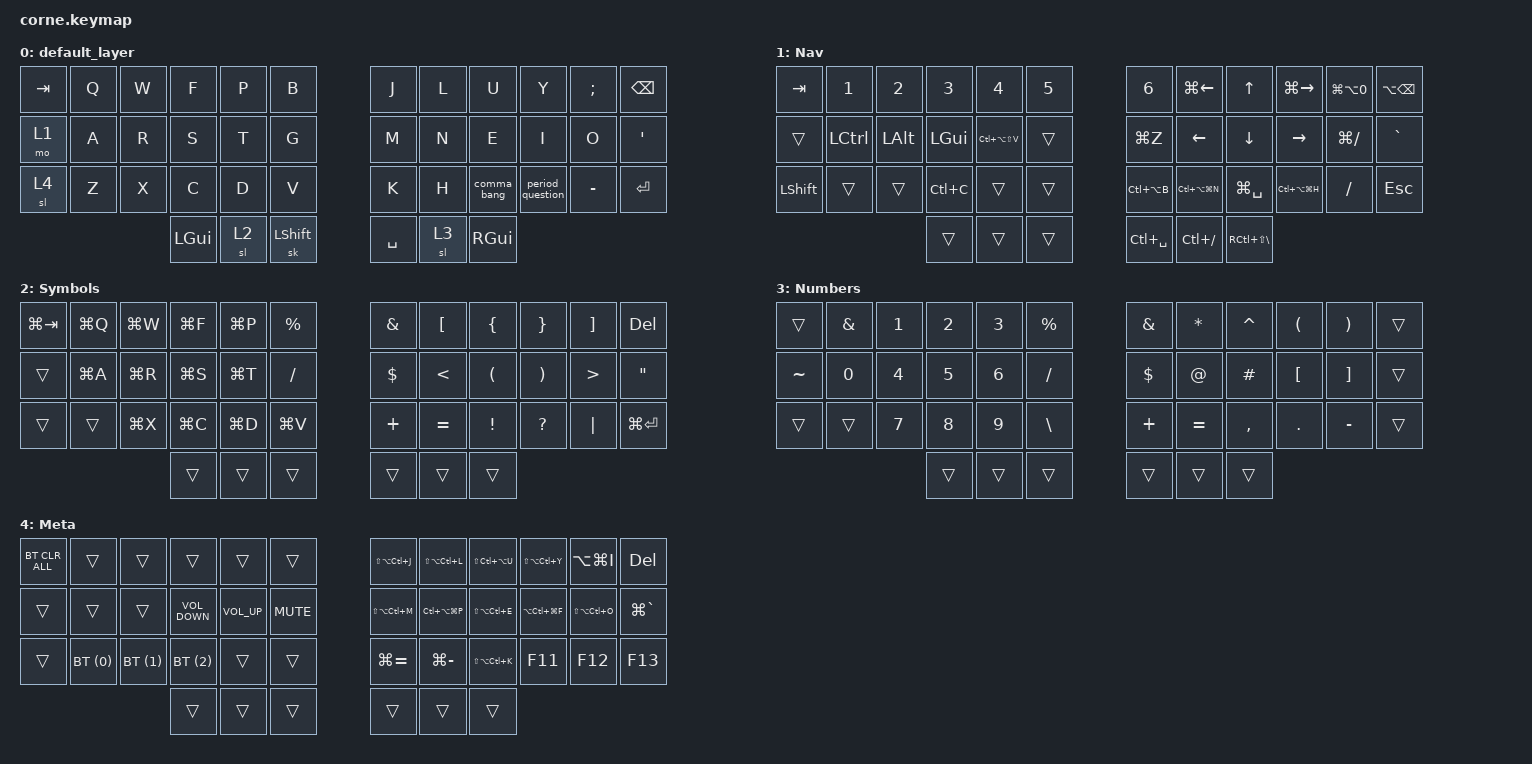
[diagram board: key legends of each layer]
/*
 * Copyright (c) 2020 The ZMK Contributors
 *
 * SPDX-License-Identifier: MIT
 */

#include <behaviors.dtsi>
#include <dt-bindings/zmk/keys.h>
#include <dt-bindings/zmk/bt.h>

&sk {
    release-after-ms = <200>;
    quick-release;
};

/ {
    behaviors {
        comma_bang: comma_bang {
            compatible = "zmk,behavior-mod-morph";
            label = "COMMA_BANG";
            bindings = <&kp COMMA>, <&kp EXCL>;

            #binding-cells = <0>;
            mods = <(MOD_LSFT)>;
        };

        period_question: period_question {
            compatible = "zmk,behavior-mod-morph";
            label = "PERIOD_QUESTION";
            bindings = <&kp PERIOD>, <&kp QUESTION>;

            #binding-cells = <0>;
            mods = <(MOD_LSFT)>;
        };
        
    };

    keymap {
        compatible = "zmk,keymap";

        default_layer {
            // -----------------------------------------------------------------------------------------
            // |  TAB |  Q  |  W  |  E  |  R  |  T  |   |  Y  |  U   |  I  |  O  |  P  | BSPC |
            // | CTRL |  A  |  S  |  D  |  F  |  G  |   |  H  |  J   |  K  |  L  |  ;  |  '   |
            // | SHFT |  Z  |  X  |  C  |  V  |  B  |   |  N  |  M   |  ,  |  .  |  /  | ESC  |
            //                    | GUI | LWR | SPC |   | ENT | RSE  | ALT |

            bindings = <
&kp TAB    &kp Q  &kp W  &kp F     &kp P  &kp B             &kp J      &kp L  &kp U          &kp Y             &kp SEMICOLON  &kp BSPC
&mo 1      &kp A  &kp R  &kp S     &kp T  &kp G             &kp M      &kp N  &kp E          &kp I             &kp O          &kp SQT
&sl 4      &kp Z  &kp X  &kp C     &kp D  &kp V             &kp K      &kp H  &comma_bang    &period_question  &kp MINUS      &kp ENTER
                         &kp LGUI  &sl 2  &sk LEFT_SHIFT    &kp SPACE  &sl 3  &kp RIGHT_GUI
            >;
        };

        Nav {
            // -----------------------------------------------------------------------------------------
            // |  TAB |  1  |  2  |  3  |  4  |  5  |   |  6  |  7  |  8  |  9  |  0  | BSPC |
            // | BTCLR| BT1 | BT2 | BT3 | BT4 | BT5 |   | LFT | DWN |  UP | RGT |     |      |
            // | SHFT |     |     |     |     |     |   |     |     |     |     |     |      |
            //                    | GUI |     | SPC |   | ENT |     | ALT |

            bindings = <
&kp TAB    &kp N1            &kp N2        &kp N3        &kp N4             &kp N5    &kp N6         &kp LG(LEFT)       &kp UP_ARROW           &kp LG(RIGHT)      &kp LG(LA(N0))  &kp LA(BSPC)
&trans     &kp LEFT_CONTROL  &kp LEFT_ALT  &kp LEFT_GUI  &kp LC(LA(LS(V)))  &trans    &kp LG(Z)      &kp LEFT_ARROW     &kp DOWN               &kp RIGHT          &kp LG(SLASH)    &kp GRAVE
&kp LSHFT  &trans            &trans        &kp LC(C)     &trans             &trans    &kp LC(LA(B))  &kp LC(LA(LG(N)))  &kp LG(SPACE)          &kp LC(LA(LG(H)))  &kp SLASH       &kp ESCAPE
                                           &trans        &trans             &trans    &kp LC(SPACE)  &kp LC(SLASH)      &kp RC(LS(BACKSLASH))
            >;

            label = "Nav";
        };

        Symbols {
            // -----------------------------------------------------------------------------------------
            // |  TAB |  !  |  @  |  #  |  $  |  %  |   |  ^  |  &  |  *  |  (  |  )  | BSPC |
            // | CTRL |     |     |     |     |     |   |  -  |  =  |  [  |  ]  |  \  |  `   |
            // | SHFT |     |     |     |     |     |   |  _  |  +  |  {  |  }  | "|" |  ~   |
            //                    | GUI |     | SPC |   | ENT |     | ALT |

            bindings = <
&kp LG(TAB)  &kp LG(Q)  &kp LG(W)  &kp LG(F)  &kp LG(P)  &kp PRCNT    &kp AMPERSAND  &kp LEFT_BRACKET  &kp LEFT_BRACE        &kp RIGHT_BRACE        &kp RIGHT_BRACKET &kp DELETE
&trans       &kp LG(A)  &kp LG(R)  &kp LG(S)  &kp LG(T)  &kp SLASH    &kp DOLLAR     &kp LESS_THAN     &kp LEFT_PARENTHESIS  &kp RIGHT_PARENTHESIS  &kp GREATER_THAN  &kp DOUBLE_QUOTES
&trans       &trans     &kp LG(X)  &kp LG(C)  &kp LG(D)  &kp LG(V)    &kp PLUS       &kp EQUAL         &kp EXCL              &kp QUESTION           &kp PIPE          &kp LG(ENTER)
                                   &trans     &trans     &trans       &trans         &trans            &trans
            >;

            label = "Symbols";
        };

        Numbers {
            bindings = <
&trans     &kp AMPERSAND  &kp NUMBER_1  &kp NUMBER_2  &kp NUMBER_3  &kp PERCENT      &kp AMPERSAND  &kp ASTERISK  &kp CARET  &kp LEFT_PARENTHESIS  &kp RIGHT_PARENTHESIS  &trans
&kp TILDE  &kp NUMBER_0   &kp NUMBER_4  &kp NUMBER_5  &kp NUMBER_6  &kp SLASH        &kp DOLLAR     &kp AT_SIGN   &kp HASH   &kp LEFT_BRACKET      &kp RIGHT_BRACKET      &trans
&trans     &trans         &kp NUMBER_7  &kp NUMBER_8  &kp NUMBER_9  &kp BACKSLASH    &kp PLUS       &kp EQUAL     &kp COMMA  &kp PERIOD            &kp MINUS              &trans
                                        &trans        &trans        &trans           &trans         &trans        &trans
            >;

            label = "Numbers";
        };

        Meta {
            bindings = <
&bt BT_CLR_ALL  &trans  &trans  &trans             &trans        &trans        &kp LS(LA(LC(J)))  &kp LS(LA(LC(L)))  &kp LS(LC(LA(U)))  &kp LS(LA(LC(Y)))  &kp LA(LG(I))      &kp DELETE
&trans  &trans  &trans  &kp C_VOLUME_DOWN  &kp C_VOL_UP  &kp K_MUTE    &kp LS(LA(LC(M)))  &kp LC(LA(LG(P)))  &kp LS(LA(LC(E)))  &kp LA(LC(LG(F)))  &kp LS(LA(LC(O)))  &kp LG(GRAVE)
&trans  &bt BT_SEL(0)  &bt BT_SEL(1)  &bt BT_SEL(2)         &trans        &trans        &kp LG(EQUAL)      &kp LG(MINUS)      &kp LS(LA(LC(K)))  &kp F11            &kp F12            &kp F13
                        &trans             &trans        &trans        &trans             &trans             &trans
            >;

            label = "Meta";
        };
    };
};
